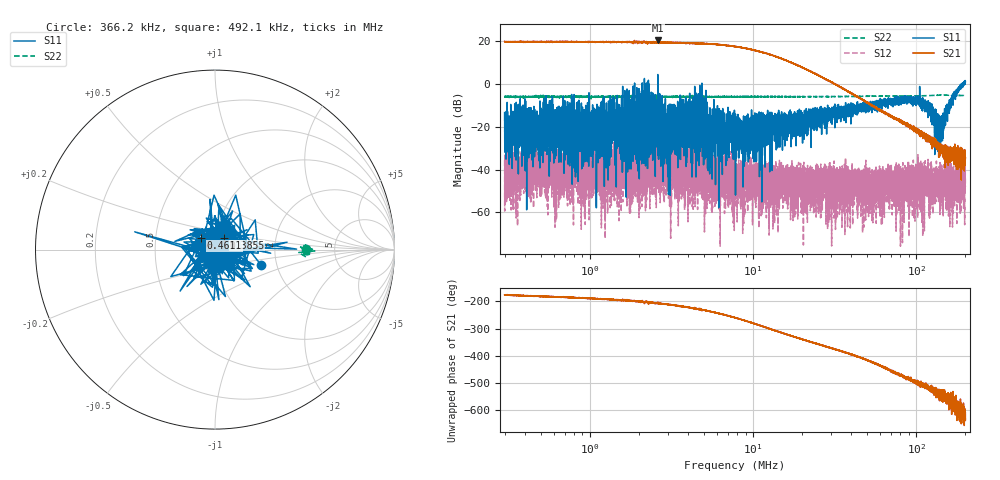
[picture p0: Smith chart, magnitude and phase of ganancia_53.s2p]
# Hz S DB R 50
! CMT, M5065, 19127446, 24.2.4/2
! Date: 11/1/2024 4:46:53 PM
! Data: Format (Calibration Info)
! Freq	S11:dB/Ang(F2)	S21:dB/Ang(F2)	S12:dB/Ang(F2)	S22:dB/Ang(F2)
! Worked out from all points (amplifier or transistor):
!   9000 points, 300 kHz to 200 MHz, reference 50 ohm
!   highest |S21| = 20.4 dB at 2.606 MHz (marker M1)
!   |S21| within 3 dB of that: start of sweep to 7.952 MHz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
!   unconditionally stable (mu >= 1): 2.637 MHz to 3.787 MHz; 5.144 MHz to 188.7 MHz; 190.9304 MHz to 191.6851 MHz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
!   at 886.8 kHz: K = 3.01, MAG = 21.2 dB, |S12| = -38.0 dB
!   at 7.749 MHz: K = 5.24, MAG = 19.2 dB, |S12| = -41.1 dB
!   at 200 MHz: K = -1556.94, MSG = 6.8 dB, |S12| = -47.9 dB
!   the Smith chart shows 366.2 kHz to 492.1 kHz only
!   S11 on the Smith chart (normalised r, x): 366.2 kHz: 1.66, -0.32; 385.5 kHz: 1.09, +0.15; 461.1 kHz: 0.85, +0.11; 492.1 kHz: 0.94, -0.20
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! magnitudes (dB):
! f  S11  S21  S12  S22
! 300 kHz  -13.3  20.0  -35.6  -5.9
! 310.1 kHz  -19.0  19.8  -42.1  -5.8
! 366.2 kHz  -11.3  19.7  -42.7  -5.9
! 385.5 kHz  -21.7  19.8  -35.6  -6.0
! 461.1 kHz  -19.9  19.9  -39.6  -5.8
! 492.1 kHz  -19.4  19.8  -44.8  -5.9
! 540.2 kHz  -13.5  19.8  -40.3  -5.8
! 886.8 kHz  -23.2  19.8  -38.0  -5.7
! 2.606 MHz  4.5  20.4  -43.3  -5.9
! 2.621 MHz  -26.3  19.5  -23.0  -6.2
! 2.941 MHz  -23.4  19.4  -35.6  -5.9
! 4.768 MHz  -20.6  19.0  -39.1  -5.8
! 5.442 MHz  -26.9  18.8  -47.3  -6.0
! 7.749 MHz  -15.3  17.6  -41.1  -5.7
! 22.91 MHz  -15.4  5.6  -49.0  -5.8
! 67.71 MHz  -8.9  -14.5  -41.5  -5.6
! 108.1 MHz  -8.0  -23.0  -44.2  -5.4
! 116.7 MHz  -9.4  -24.7  -52.6  -5.4
! 123.4 MHz  -12.9  -26.3  -36.3  -5.3
! 138.1 MHz  -14.5  -30.5  -49.5  -5.2
! 166.8 MHz  -6.8  -31.5  -45.5  -5.2
! 200 MHz  1.3  -34.4  -47.9  -5.3
